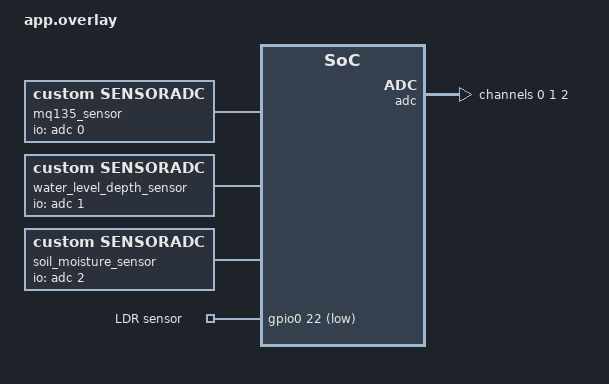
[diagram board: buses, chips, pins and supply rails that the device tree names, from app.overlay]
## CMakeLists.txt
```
cmake_minimum_required(VERSION 3.20.0)

list(APPEND DTS_ROOT ${CMAKE_CURRENT_SOURCE_DIR})
find_package(Zephyr REQUIRED HINTS $ENV{ZEPHYR_BASE})
project(RenvSensors)
target_include_directories(app PRIVATE drivers/sensor/adcs)
target_sources(app PRIVATE src/main.c)
target_sources_ifdef(CONFIG_SENSORADC app PRIVATE drivers/sensor/adcs/adcsensor.c)
```

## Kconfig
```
mainmenu "MQ135 Application"

source "Kconfig.zephyr"

config LDR
    bool "Enable ldr sensor"
    default n
rsource "drivers/sensor/adcs/Kconfig"
```

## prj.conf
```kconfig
CONFIG_ADC=y
CONFIG_SENSOR=y
CONFIG_LOG=y
CONFIG_CBPRINTF_FP_SUPPORT=y
CONFIG_SENSORADC=y
CONFIG_MQ135=n
CONFIG_WATER=y
CONFIG_SOIL=y
CONFIG_LDR=y
CONFIG_LOG=y
CONFIG_LOG_DEFAULT_LEVEL=3
```

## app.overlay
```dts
/ {
    mq135_sensor: sensoradc_1 {
        compatible = "custom,sensoradc";
        io-channels = <&adc 0>; /* Match your board's ADC controller & channel */
        min-adc = <450>;
        max-adc = <3500>;
        status = "okay";
    };

    water_level_depth_sensor: sensoradc_2 {
        compatible = "custom,sensoradc";
        io-channels = <&adc 1>; 
        min-adc = <450>;
        max-adc = <3500>;
        status = "okay";
    };

    soil_moisture_sensor: sensoradc_3{
        compatible = "custom,sensoradc";
        io-channels = <&adc 2>; 
        min-adc = <450>;
        max-adc = <3500>;
        status = "okay";
    };

    ldr_sensor{
        compatible = "gpio-keys";
        ldr_sensor: ldr_sensor_irq_1{
            gpios = <&gpio0 22 (GPIO_PULL_UP | GPIO_ACTIVE_LOW)>;
            label ="LDR sensor";
        };
    };
};

&adc {
    status = "okay";
    #address-cells = <1>;
    #size-cells = <0>;

    channel@0 {
        reg = <0>;
        zephyr,gain = "ADC_GAIN_1";
        zephyr,reference = "ADC_REF_INTERNAL";
        zephyr,acquisition-time = <ADC_ACQ_TIME_DEFAULT>;
        zephyr,resolution = <12>;
    };


    channel@1 {
        reg = <1>;
        zephyr,gain = "ADC_GAIN_1";
        zephyr,reference = "ADC_REF_INTERNAL";
        zephyr,acquisition-time = <ADC_ACQ_TIME_DEFAULT>;
        zephyr,resolution = <12>;
    };

    channel@2 {
        reg = <2>;
        zephyr,gain = "ADC_GAIN_1";
        zephyr,reference = "ADC_REF_INTERNAL";
        zephyr,acquisition-time = <ADC_ACQ_TIME_DEFAULT>;
        zephyr,resolution = <12>;
    };


   
};
```

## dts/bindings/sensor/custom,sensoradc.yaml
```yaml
description: Custom Mq-135 Air Quality Gas Sensor Driver

compatible: "custom,sensoradc"

include: sensor-device.yaml

properties:
  io-channels:
    required: true
    description: ADC channel connected to MQ125 A0 pin
  min-adc:
    type: int
    default: 450
    description: Baseline raw ADC value in clean air
  max-adc:
    type: int
    default: 3500
    description: Maximim raw ADC valur at 100% pollution thershold

    
```

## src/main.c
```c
#include <zephyr/kernel.h>
#include <zephyr/device.h>
#include <zephyr/drivers/sensor.h>
#include <zephyr/drivers/gpio.h>
#include <zephyr/logging/log.h>
#include <stdio.h>
#include "adcsensor.h"

LOG_MODULE_REGISTER(irq_sensor,LOG_LEVEL_DBG);

#define DEBOUCE_DELAY_MS 50

static void sensors_stop(struct k_timer *timer_id);

#ifdef CONFIG_MQ135
const struct device *mq135 = DEVICE_DT_GET(DT_NODELABEL(mq135_sensor));
#endif

#ifdef CONFIG_WATER
const struct device *water = DEVICE_DT_GET(DT_NODELABEL(water_level_depth_sensor));
#endif

#ifdef CONFIG_SOIL
const struct device *soil = DEVICE_DT_GET(DT_NODELABEL(soil_moisture_sensor));
#endif

static const struct gpio_dt_spec ldr = GPIO_DT_SPEC_GET(DT_NODELABEL(ldr_sensor),gpios);

static struct gpio_callback ldr_cb_data;

static struct k_work_delayable ldr_debounce_work;


static void ldr_debounce_handler(struct k_work *work)
{
    int state = gpio_pin_get_dt(&ldr);
    printk("LDR state changed: %d\n",state);   
}


#ifdef CONFIG_LDR


void ldr_isr(const struct device *dev , struct gpio_callback *cb, uint32_t pins)
{
    
    k_work_reschedule(&ldr_debounce_work,K_MSEC(DEBOUCE_DELAY_MS));
}
#endif
static void mqtt_publish_work_handler(struct k_work *work){
    struct sensor_value raw_val, pct_val;
    char json_payload[128];

    while (1) {
    #ifdef CONFIG_MQ135
    if (sensor_sample_fetch(mq135) == 0) {
        sensor_channel_get(mq135, SENSOR_GET_RAW_ADC, &raw_val);
        sensor_channel_get(mq135, SENSOR_GET_PERCENTAGE, &pct_val);

        double pct = sensor_value_to_double(&pct_val);

        snprintf(json_payload, sizeof(json_payload),
                    "{\"sensor\":\"MQ-135\",\"raw_adc\":%d,\"pollution_percent\":%.1f}",
                    raw_val.val1, pct);

        printk("%s\n", json_payload);
    }
    #endif

    #ifdef CONFIG_WATER
    if (sensor_sample_fetch(water) == 0){
        sensor_channel_get(water,SENSOR_GET_RAW_ADC,&raw_val);
        sensor_channel_get(water,SENSOR_GET_PERCENTAGE,&pct_val);

        double pct = sensor_value_to_double(&pct_val);

        snprintf(json_payload, sizeof(json_payload),
                    "{\"sensor\":\"HW-038\",\"raw_adc\":%d,\"water depth\":%.1f}",
                    raw_val.val1, pct);

        printk("%s\n", json_payload);
    }
    #endif

    #ifdef CONFIG_SOIL
    if (sensor_sample_fetch(soil) == 0){
        sensor_channel_get(soil,SENSOR_GET_RAW_ADC,&raw_val);
        sensor_channel_get(soil,SENSOR_GET_PERCENTAGE,&pct_val);

        double pct = sensor_value_to_double(&pct_val);

        snprintf(json_payload, sizeof(json_payload),
                    "{\"sensor\":\"SOIL-MS\",\"raw_adc\":%d,\"soil state\":%.1f}",
                    raw_val.val1, pct);

        printk("%s\n", json_payload);
    }
    #endif
    }
   

    return;
}
K_WORK_DEFINE(mqtt_publish_work,mqtt_publish_work_handler);

static void sensors_start(struct k_timer *timer_id){
    k_work_submit(&mqtt_publish_work);
}   




K_TIMER_DEFINE(sensors_timer,sensors_start,sensors_stop);

static void sensors_stop(struct k_timer *timer_id){
    k_timer_stop(&sensors_timer);
}


int main(void)
{
    int ret;
    #ifdef CONFIG_LDR
        if (!gpio_is_ready_dt(&ldr)) {
            return -1;
        }

        ret = gpio_pin_configure_dt(&ldr,GPIO_INPUT);
        if(ret < 0){
            return ret;
        }
        k_work_init_delayable(&ldr_debounce_work,ldr_debounce_handler);
        gpio_init_callback(&ldr_cb_data,ldr_isr,BIT(ldr.pin));
        gpio_add_callback(ldr.port,&ldr_cb_data);

        ret = gpio_pin_interrupt_configure_dt(&ldr,GPIO_INT_EDGE_FALLING);
        if (ret < 0){
            return ret;
        }
        LOG_INF("LDR sensor now configured ");
    #endif
    while (1){
        LOG_INF("Pin raw state: %d",gpio_pin_get_raw(ldr.port,ldr.pin));
        k_msleep(1000);
    }
    //k_timer_start(&sensors_timer, K_MSEC(1000), K_MSEC(5000));
    return 0;
}
```
